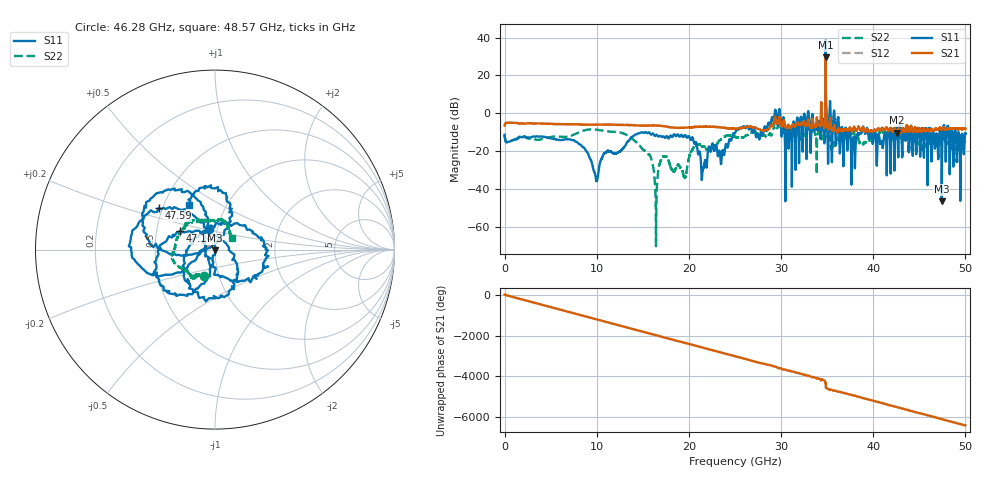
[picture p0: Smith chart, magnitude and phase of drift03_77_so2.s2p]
!Created with skrf (http://scikit-rf.org).
# Hz S RI R 50.0
!freq ReS11 ImS11 ReS21 ImS21 ReS12 ImS12 ReS22 ImS22
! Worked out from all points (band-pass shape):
!   10001 points, 300 kHz to 50 GHz, reference 50 ohm
!   highest |S21| = 29.59 dB at 34.85 GHz (marker M1); lowest = -10.4 dB at 42.56 GHz (marker M2)
!   |S21| within 3 dB of the highest: 34.84385 GHz to 34.84589 GHz (2.034 MHz wide, 0.00584 % of centre)
!   lowest |S11| = -46.6 dB at 47.44 GHz (marker M3), VSWR 1.01, Z = 49.9 - j0.45 ohm
!   |S11| at or under -10 dB: start of sweep to 15.23 GHz; 15.31 GHz to 25.05 GHz (9.737 GHz wide, 48.2 % of centre); 40.22 GHz to 41.61 GHz (1.384 GHz wide, 3.38 % of centre) (the widest 3 of 48)
!   |S22| runs from -70.3 to 20.5 dB; largest |S21 - S12| = 4.3
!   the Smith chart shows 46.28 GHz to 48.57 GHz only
!   S11 on the Smith chart (normalised r, x): 46.28 GHz: 0.91, +0.21; 47.14 GHz: 0.66, +0.14; 47.59 GHz: 0.48, +0.26; 48.57 GHz: 0.67, +0.37
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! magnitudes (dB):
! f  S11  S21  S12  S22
! 300 kHz  -11.4  -6.5  -6.5  -11.5
! 8.335 GHz  -17.1  -6.0  -6.0  -9.6
! 9.955 GHz  -35.7  -6.1  -6.1  -8.7
! 13.85 GHz  -12.5  -6.3  -6.3  -13.5
! 16.67 GHz  -12.3  -6.5  -6.5  -30.4
! 17.34 GHz  -12.8  -6.9  -6.9  -22.9
! 19.55 GHz  -11.6  -7.6  -7.6  -34.0
! 20.21 GHz  -13.8  -7.4  -7.5  -20.4
! 21.55 GHz  -28.8  -7.2  -7.2  -17.7
! 25 GHz  -10.6  -8.2  -8.2  -12.5
! 33.34 GHz  -3.8  -6.8  -6.7  -9.3
! 34.85 GHz  38.5  29.6  29.3  20.5
! 37.83 GHz  -12.8  -8.2  -8.2  -9.6
! 38.82 GHz  -8.2  -8.0  -8.0  -16.2
! 41.67 GHz  -9.1  -9.4  -9.3  -11.4
! 42.56 GHz  -8.3  -10.4  -10.4  -13.4
! 46.28 GHz  -18.6  -8.6  -8.6  -16.0
! 47.14 GHz  -13.1  -8.2  -8.2  -12.3
! 47.44 GHz  -46.6  -8.5  -8.5  -13.4
! 47.59 GHz  -8.2  -8.2  -8.2  -13.5
! 48.57 GHz  -10.8  -8.1  -8.1  -18.6
! 50 GHz  -10.7  -8.3  -8.2  -15.5
